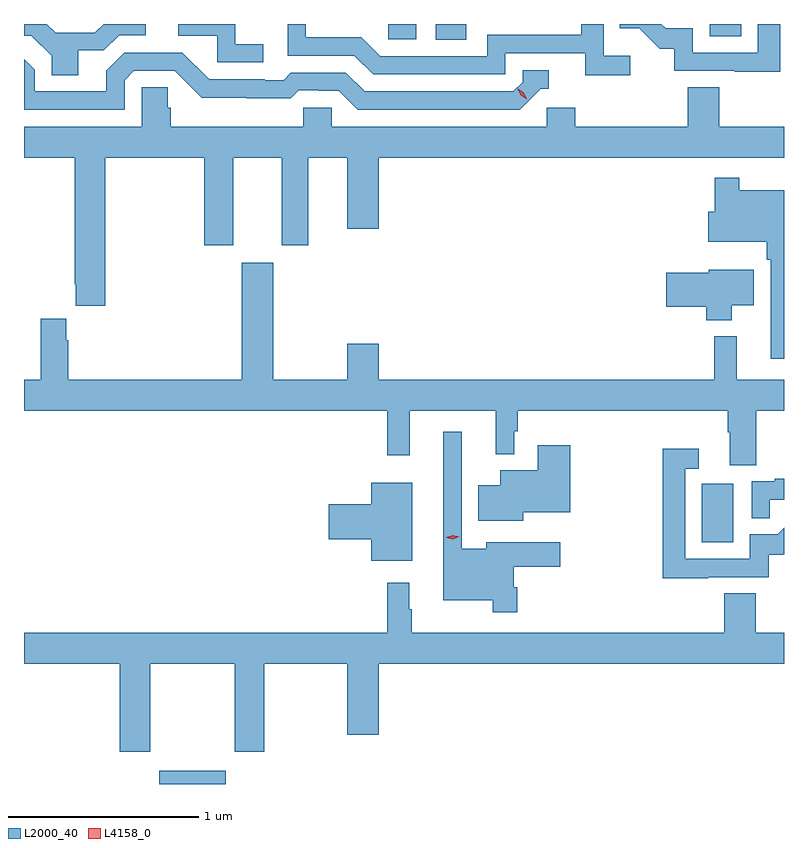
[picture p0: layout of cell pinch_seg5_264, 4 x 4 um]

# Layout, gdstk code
import gdstk
lib = gdstk.Library(unit=1e-6, precision=1e-09)
def R(c, l, rs):  # rectangles x0, y0, x1, y1
    for r in rs: c.add(gdstk.rectangle(r[:2], r[2:], *l))
def P(c, l, *ps):  # polygons
    for p in ps: c.add(gdstk.Polygon(p, *l))
L2000_40 = (2000, 40)
L4158_0 = (4158, 0)

pinch_seg5_264 = lib.new_cell('pinch_seg5_264')
R(pinch_seg5_264, L2000_40, [(895.286,905.412,895.636,905.482), (898.142,906.684,898.306,906.991), (896.742,909.328,896.902,909.412), (896.49,909.333,896.638,909.412), (898.184,909.348,898.348,909.412)])
P(pinch_seg5_264, L2000_40, [(895.834,909.306),(895.686,909.306),(895.686,909.412),(895.385,909.412),(895.385,909.351),(895.59,909.351),(895.59,909.21),(895.834,909.21)],
  [(894.859,909.274),(894.994,909.274),(895.074,909.354),(895.216,909.354),(895.216,909.412),(894.993,909.412),(894.947,909.366),(894.741,909.366),(894.695,909.412),(894.574,909.412),(894.574,909.351),(894.612,909.351),(894.719,909.244),(894.719,909.142),(894.859,909.142)],
  [(897.766,909.244),(897.624,909.244),(897.624,909.412),(897.508,909.412),(897.508,909.355),(897.012,909.355),(897.012,909.243),(896.448,909.243),(896.349,909.342),(896.058,909.342),(896.058,909.412),(895.962,909.412),(895.962,909.246),(896.312,909.246),(896.411,909.147),(897.108,909.147),(897.108,909.258),(897.527,909.258),(897.527,909.142),(897.766,909.142)],
  [(898.553,909.412),(898.437,909.412),(898.437,909.261),(898.095,909.261),(898.095,909.39),(897.951,909.39),(897.929,909.412),(897.709,909.412),(897.709,909.389),(897.813,909.389),(897.92,909.282),(897.997,909.282),(897.997,909.165),(898.315,909.165),(898.315,909.16),(898.553,909.16)],
  [(895.104,909.117),(895.152,909.165),(895.368,909.165),(895.51,909.023),(895.746,909.023),(895.746,909.021),(895.979,909.021),(896.021,909.063),(896.124,909.063),(896.124,909.06),(896.231,909.06),(896.33,908.961),(897.183,908.961),(897.294,909.072),(897.337,909.072),(897.337,909.168),(897.198,909.168),(897.198,909.105),(897.15,909.057),(896.367,909.057),(896.268,909.156),(895.979,909.156),(895.94,909.117),(895.841,909.117),(895.841,909.12),(895.548,909.12),(895.407,909.261),(895.101,909.261),(895.007,909.167),(895.007,909.057),(894.63,909.057),(894.63,909.171),(894.574,909.227),(894.574,908.961),(895.104,908.961)],
  [(895.001,908.708),(895.523,908.708),(895.523,908.247),(895.675,908.247),(895.675,908.708),(895.931,908.708),(895.931,908.247),(896.071,908.247),(896.071,908.708),(896.276,908.708),(896.276,908.334),(896.44,908.334),(896.44,908.708),(898.574,908.708),(898.574,908.872),(898.232,908.872),(898.232,909.08),(898.067,909.08),(898.067,908.872),(897.476,908.872),(897.476,908.97),(897.324,908.97),(897.324,908.872),(896.193,908.872),(896.193,908.97),(896.043,908.97),(896.043,908.872),(895.346,908.872),(895.346,908.97),(895.331,908.97),(895.331,909.08),(895.194,909.08),(895.194,908.872),(894.574,908.872),(894.574,908.708),(894.841,908.708),(894.841,908.041),(894.847,908.041),(894.847,907.929),(895.001,907.929)],
  [(898.574,908.536),(898.339,908.536),(898.339,908.602),(898.21,908.602),(898.21,908.425),(898.176,908.425),(898.176,908.267),(898.483,908.267),(898.483,908.171),(898.503,908.171),(898.503,907.65),(898.574,907.65)],
  [(898.429,907.376),(898.574,907.376),(898.574,907.54),(898.325,907.54),(898.325,907.768),(898.207,907.768),(898.207,907.54),(896.44,907.54),(896.44,907.729),(896.276,907.729),(896.276,907.54),(895.885,907.54),(895.885,908.155),(895.721,908.155),(895.721,907.54),(894.806,907.54),(894.806,907.748),(894.796,907.748),(894.796,907.861),(894.662,907.861),(894.662,907.54),(894.574,907.54),(894.574,907.376),(896.485,907.376),(896.485,907.143),(896.603,907.143),(896.603,907.376),(897.056,907.376),(897.056,907.148),(897.153,907.148),(897.153,907.269),(897.173,907.269),(897.173,907.376),(898.277,907.376),(898.277,907.264),(898.289,907.264),(898.289,907.09),(898.429,907.09)],
  [(898.3,907.931),(898.414,907.931),(898.414,908.119),(898.178,908.119),(898.178,908.102),(897.954,908.102),(897.954,907.924),(898.166,907.924),(898.166,907.853),(898.3,907.853)],
  [(897.17,906.447),(897.151,906.447),(897.151,906.556),(897.397,906.556),(897.397,906.685),(897.008,906.685),(897.008,906.649),(896.877,906.649),(896.877,907.267),(896.78,907.267),(896.78,906.38),(897.042,906.38),(897.042,906.315),(897.17,906.315)],
  [(897.202,906.842),(897.449,906.842),(897.449,907.195),(897.278,907.195),(897.278,907.063),(897.08,907.063),(897.08,906.985),(896.966,906.985),(896.966,906.797),(897.202,906.797)],
  [(898.175,906.501),(898.494,906.501),(898.494,906.618),(898.57,906.618),(898.574,906.622),(898.574,906.76),(898.54,906.726),(898.395,906.726),(898.395,906.597),(898.053,906.597),(898.053,907.071),(898.126,907.071),(898.126,907.177),(897.937,907.177),(897.937,906.496),(898.175,906.496)],
  [(898.499,906.909),(898.574,906.909),(898.574,907.018),(898.525,907.018),(898.525,907.005),(898.404,907.005),(898.404,906.811),(898.499,906.811)],
  [(896.617,906.997),(896.402,906.997),(896.402,906.884),(896.178,906.884),(896.178,906.701),(896.402,906.701),(896.402,906.587),(896.617,906.587)],
  [(895.239,906.044),(895.684,906.044),(895.684,905.583),(895.839,905.583),(895.839,906.044),(896.276,906.044),(896.276,905.67),(896.44,905.67),(896.44,906.044),(898.574,906.044),(898.574,906.208),(898.424,906.208),(898.424,906.416),(898.259,906.416),(898.259,906.208),(896.614,906.208),(896.614,906.332),(896.602,906.332),(896.602,906.472),(896.485,906.472),(896.485,906.208),(894.574,906.208),(894.574,906.044),(895.079,906.044),(895.079,905.583),(895.239,905.583)])
P(pinch_seg5_264, L4158_0, [(897.219,909.017),(897.189,909.037),(897.173,909.07),(897.173,909.07),(897.174,909.07),(897.204,909.05),(897.219,909.017),(897.219,909.017)],
  [(896.831,906.701),(896.796,906.709),(896.796,906.71),(896.796,906.71),(896.83,906.721),(896.866,906.713),(896.866,906.713),(896.866,906.713)])

lib.write_gds('pinch_seg5_264.gds')
